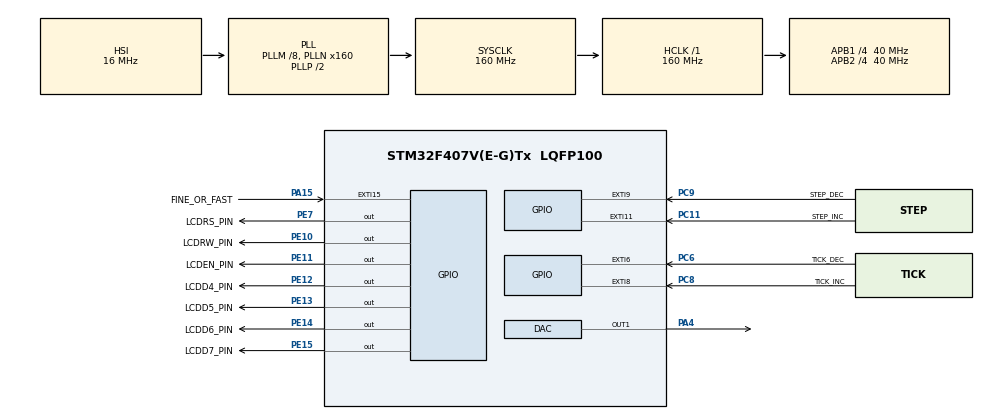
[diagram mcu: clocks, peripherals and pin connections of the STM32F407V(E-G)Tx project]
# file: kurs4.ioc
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DAC.DAC_Trigger=DAC_TRIGGER_NONE
Mcu.Family=STM32F4
Mcu.Name=STM32F407V(E-G)Tx
Mcu.Package=LQFP100
NVIC.EXTI15_10_IRQn=true\:1\:0\:true\:false\:true\:true\:true
NVIC.EXTI9_5_IRQn=true\:1\:0\:true\:false\:true\:true\:true
NVIC.PriorityGroup=NVIC_PRIORITYGROUP_4
NVIC.TIM1_BRK_TIM9_IRQn=true\:2\:0\:true\:false\:true\:true\:true
PA15.GPIO_Label=FINE_OR_FAST
PA15.GPIO_ModeDefaultEXTI=GPIO_MODE_IT_FALLING
PA15.Signal=GPXTI15
PA4.Signal=COMP_DAC1_group
PC11.GPIO_Label=STEP_INC
PC11.GPIO_ModeDefaultEXTI=GPIO_MODE_IT_FALLING
PC11.GPIO_PuPd=GPIO_NOPULL
PC11.Signal=GPXTI11
PC6.GPIO_Label=TICK_DEC
PC6.GPIO_ModeDefaultEXTI=GPIO_MODE_IT_FALLING
PC6.Signal=GPXTI6
PC8.GPIO_Label=TICK_INC
PC8.GPIO_ModeDefaultEXTI=GPIO_MODE_IT_FALLING
PC8.Signal=GPXTI8
PC9.GPIO_Label=STEP_DEC
PC9.GPIO_ModeDefaultEXTI=GPIO_MODE_IT_FALLING
PC9.GPIO_PuPd=GPIO_NOPULL
PC9.Signal=GPXTI9
PE10.GPIO_Label=LCDRW_PIN
PE10.GPIO_Speed=GPIO_SPEED_FREQ_MEDIUM
PE10.PinState=GPIO_PIN_RESET
PE10.Signal=GPIO_Output
PE11.GPIO_Label=LCDEN_PIN
PE11.GPIO_Speed=GPIO_SPEED_FREQ_MEDIUM
PE11.Signal=GPIO_Output
PE12.GPIO_Label=LCDD4_PIN
PE12.GPIO_Speed=GPIO_SPEED_FREQ_MEDIUM
PE12.Signal=GPIO_Output
PE13.GPIO_Label=LCDD5_PIN
PE13.GPIO_Speed=GPIO_SPEED_FREQ_MEDIUM
PE13.Signal=GPIO_Output
PE14.GPIO_Label=LCDD6_PIN
PE14.GPIO_Speed=GPIO_SPEED_FREQ_MEDIUM
PE14.Signal=GPIO_Output
PE15.GPIO_Label=LCDD7_PIN
PE15.GPIO_Speed=GPIO_SPEED_FREQ_MEDIUM
PE15.Signal=GPIO_Output
PE7.GPIO_Label=LCDRS_PIN
PE7.GPIO_Speed=GPIO_SPEED_FREQ_MEDIUM
PE7.Signal=GPIO_Output
ProjectManager.HeapSize=0x200
ProjectManager.StackSize=0x400
ProjectManager.TargetToolchain=STM32CubeIDE
RCC.48MHZClocksFreq_Value=80000000
RCC.AHBFreq_Value=160000000
RCC.APB1CLKDivider=RCC_HCLK_DIV4
RCC.APB1Freq_Value=40000000
RCC.APB1TimFreq_Value=80000000
RCC.APB2CLKDivider=RCC_HCLK_DIV4
RCC.APB2Freq_Value=40000000
RCC.APB2TimFreq_Value=80000000
RCC.CortexFreq_Value=160000000
RCC.HCLKFreq_Value=160000000
RCC.HSE_VALUE=25000000
RCC.HSI_VALUE=16000000
RCC.LSE_VALUE=32768
RCC.PLLM=8
RCC.PLLN=160
RCC.SYSCLKFreq_VALUE=160000000
RCC.SYSCLKSource=RCC_SYSCLKSOURCE_PLLCLK
RCC.VCOOutputFreq_Value=320000000
SH.COMP_DAC1_group.0=DAC_OUT1,DAC_OUT1
TIM9.Period=260
VP_TIM9_VS_ClockSourceINT.Mode=Internal
board=custom

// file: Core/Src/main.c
/* USER CODE BEGIN Header */
/**
 ******************************************************************************
 * @file           : main.c
 * @brief          : Main program body
 ******************************************************************************
 * @attention
 *
 * <h2><center>&copy; Copyright (c) 2021 STMicroelectronics.
 * All rights reserved.</center></h2>
 *
 * This software component is licensed by ST under BSD 3-Clause license,
 * the "License"; You may not use this file except in compliance with the
 * License. You may obtain a copy of the License at:
 *                        opensource.org/licenses/BSD-3-Clause
 *
 ******************************************************************************
 */
/* USER CODE END Header */
#include "main.h"

/* USER CODE BEGIN PM */

//#include "systick.h"
#include "terminal.h"

//#include <stdio.h>

/* USER CODE END PM */

DAC_HandleTypeDef hdac;

TIM_HandleTypeDef htim9;

/* USER CODE BEGIN PV */

/* main constants */
static const uint32_t FREQ_STEP_MAX = 1024;
static const uint32_t FREQ_STEP_MIN = 1;

static const uint32_t TICK_STEP_MAX = 64;
static const uint32_t TICK_STEP_MIN = 0;

static const uint32_t UINT32_DIGITS = 10;
static const uint32_t STR2INT_BASE10 = 10;

#define __NORMALIZE_AMPLITUDE

/*
 * base_freq = (Ftim_clk) / (tim_period * DAC_MAX )
 * TIM_period = (Ftim_clk) / (Fwanted * DAC_MAX)
 * Fwanted ~ base_Freq
 */
static const float base_freq = (80000000.f) / (260.417f * 4096.f);

/* main variables */
static uint32_t fine_step = 1;
static uint32_t tick_step = 0;
static uint32_t main_step = 1;

/* control state machine */
static uint8_t main_step_mode = FREQ_STEP_1;

static float curr_freq = base_freq;

/* general i/o buffer */
static char str[TERM_1L_SIZE] = {' '};

/* system generator and terminal pointers */
static trigen *sysgen = NULL;
static term_win *systerm = NULL;

/* USER CODE END PV */

void SystemClock_Config(void);
static void MX_GPIO_Init(void);
static void MX_DAC_Init(void);
static void MX_TIM9_Init(void);

/* USER CODE BEGIN 0 */

/* misc functions */

/* @brief	clamps a value between min & max
 * @param 	val: value to be clamped
 * @param 	min: low boundary
 * @param 	max: high boundary
 * @retval	ret: clamped value
 */
static uint32_t clamp_ui32(uint32_t val, uint32_t min, uint32_t max)
{
	const uint32_t ret = (val < min) ? min : val;
	return (ret > max) ? max : ret;
}

/* @brief	u32_to_zstr helper function
 * Moves a given string pointer to the first non-zero value, ex
 * 		i	>  01234567
 * 		buf = "00005071\n" -> msd = &buf[4]
 * @param 	buf: a string pointer
 * @retval	msd: a pointer to the supposed most significant digit
 */
static char *__uint32_skip_zeroes(char *buf)
{
	char *msd = &buf[UINT32_DIGITS - 1];

	/* find the msd / skip leading zeroes */
	for (uint32_t i = 0; i < UINT32_DIGITS; i++)
		if (buf[i] != '0') {
			msd = &buf[i];
			break;
		}

	return msd;
}

/* @brief	converts u32 to string
 * Converts a given 32-bit unsigned integer to a string
 * @param 	val: a value to be converted
 * @param 	buf: a pointer to character buffer
 * @retval	buf
 */
static char *uint32_to_str(uint32_t val, char *buf)
{
	/* transform each uint32 digit into char */
	for(uint32_t i = UINT32_DIGITS; i > 0; i--, val /= STR2INT_BASE10)
		buf[i - 1] = "0123456789"[val % STR2INT_BASE10];

	return buf;
}

/* @brief	converts u32 to string
 * Converts a given 32-bit unsigned integer to a string without leading zeroes
 * @param 	val: a value to be converted
 * @param 	buf: a pointer to character buffer
 * @retval	buf
 */
static char *uint32_to_zstr(uint32_t val, char *buf)
{
	/* transform a given value */
	buf = uint32_to_str(val, buf);

	/* find the msd / skip leading zeroes */
	return __uint32_skip_zeroes(buf);
}

/* @brief	prints information to display
 * Prints all sawtooth generator parameters and current approximate frequency
 * @param 	None
 * @retval	None
 */
static void print_info(void)
{
	/* dislay info */
	term_cls(systerm);

	/* generator parameters */
	term_putsxy(systerm, "Mul:", 0, 0);
	term_putsxy(systerm, "Div:", 0, 1);
	term_putsxy(systerm, uint32_to_zstr(fine_step, str), 4, 0);
	term_putsxy(systerm, uint32_to_zstr(tick_step + 1, str), 4, 1);

	/* generator output */
	term_putsxy(systerm, "Freq:", 9, 0);
	term_putsxy(systerm, uint32_to_zstr(curr_freq, str), 9, 1);

	term_putchxy(systerm, main_step_mode, 15, 0);
}

/* @brief	generator step inc/dec mode control state machine
 * 1 = fine_step (+ or -) 	1
 * 2 = fine_step (+ or -) 	10
 * 3 = fine_step (+ or -) 	100
 * > = fine_step (<< or >>) 1
 * @param 	None
 * @retval	main_step_mode: current mode
 */
static enum STEP_CONTROL mode_change(void)
{
	switch(main_step_mode)
	{
	case FREQ_STEP_1:
		main_step = 10;
		main_step_mode = FREQ_STEP_10;
		break;
	case FREQ_STEP_10:
		main_step = 100;
		main_step_mode = FREQ_STEP_100;
		break;
	case FREQ_STEP_100:
		main_step = 2;
		main_step_mode = FREQ_STEP_SH;
		break;

	case FREQ_STEP_SH:
		main_step = 1;
		main_step_mode = FREQ_STEP_1;
		break;

	default:
		main_step_mode = FREQ_STEP_1;
		break;
	};

	return main_step_mode;
}

/* main generator timer callback */
void HAL_TIM_PeriodElapsedCallback(TIM_HandleTypeDef* htim)
{
	if (&htim9 == htim && NULL != sysgen)
	{
#ifdef __NORMALIZE_AMPLITUDE
		HAL_DAC_SetValue(&hdac, DAC_CHANNEL_1, DAC_ALIGN_12B_R, gen_get_norm_amp(sysgen));
#else
		HAL_DAC_SetValue(&hdac, DAC_CHANNEL_1, DAC_ALIGN_12B_R, sysgen->count);
#endif
		gen_tick(sysgen);
	}
}

/* control key interrupt callbacks */
void HAL_GPIO_EXTI_Callback(uint16_t GPIO_Pin)
{
	HAL_TIM_Base_Stop_IT(&htim9);

	switch(GPIO_Pin)
	{
	/* divider ticks */
	case GPIO_PIN_8:
		if (tick_step > TICK_STEP_MIN) 	{ tick_step -= 1; }
		break;
	case GPIO_PIN_6:
		if (tick_step < TICK_STEP_MAX)	{ tick_step += 1; }
		break;

	/* main counter ticks */
	case GPIO_PIN_9:
		/* dec (or shift right) frequency */
		if (fine_step > main_step) {
			if (main_step_mode == FREQ_STEP_SH)
				fine_step = fine_step >> 1;
			else
				fine_step -= main_step;
		}
		break;

	case GPIO_PIN_11:
		/* inc (or shift left) frequency */
		if (fine_step < FREQ_STEP_MAX) {
			if (main_step_mode == FREQ_STEP_SH)
				fine_step = fine_step << 1;
			else
				fine_step += main_step;
		}
		break;

	/* change freq regulation mode*/
	case GPIO_PIN_15:
		mode_change();
		break;

	default:
		break;
	};

	/* reconfigure main generator */
	fine_step = clamp_ui32(fine_step, FREQ_STEP_MIN, FREQ_STEP_MAX);
	tick_step = clamp_ui32(tick_step, TICK_STEP_MIN, TICK_STEP_MAX);

	gen_set_step(sysgen, fine_step);
	gen_set_tick(sysgen, tick_step);

	/* calculate approximate current frequency */
	curr_freq = (float)(base_freq * (float)(fine_step)) / (float)(tick_step + 1);

	print_info();

	HAL_TIM_Base_Start_IT(&htim9);
}

/* USER CODE END 0 */

int main(void)
{
	/* USER CODE BEGIN 1 */
	trigen __gen_main;
	sysgen = &__gen_main;

	term_win __term_main;
	systerm = &__term_main;

	uint32_t start_step = 1;
	uint32_t start_tick = 0;

	fine_step = start_step;
	tick_step = start_tick;

	/* USER CODE END 1 */

	/* MCU Configuration--------------------------------------------------------*/

	/* Reset of all peripherals, Initializes the Flash interface and the Systick. */
	HAL_Init();

	/* Configure the system clock */
	SystemClock_Config();

	/* Initialize all configured peripherals */
	MX_GPIO_Init();
	MX_DAC_Init();
	MX_TIM9_Init();
	/* USER CODE BEGIN 2 */

	/* initialize main generator */
	gen_init(sysgen, GEN_12BIT, start_step, start_tick);

	/* initialize terminal -> initialize lcd screen */
	term_init(systerm);
	HAL_Delay(10);

	print_info();

	HAL_DAC_Start(&hdac, DAC_CHANNEL_1);
	HAL_TIM_Base_Start_IT(&htim9);

	/* USER CODE END 2 */

	/* Infinite loop */
	while (1)
	{

		/* USER CODE BEGIN 3 */
		term_draw(systerm);
	}
	/* USER CODE END 3 */
}

void SystemClock_Config(void)
{
	RCC_OscInitTypeDef RCC_OscInitStruct = {0};
	RCC_ClkInitTypeDef RCC_ClkInitStruct = {0};

	/** Configure the main internal regulator output voltage
	 */
	__HAL_RCC_PWR_CLK_ENABLE();
	__HAL_PWR_VOLTAGESCALING_CONFIG(PWR_REGULATOR_VOLTAGE_SCALE1);
	/** Initializes the RCC Oscillators according to the specified parameters
	 * in the RCC_OscInitTypeDef structure.
	 */
	RCC_OscInitStruct.OscillatorType = RCC_OSCILLATORTYPE_HSI;
	RCC_OscInitStruct.HSIState = RCC_HSI_ON;
	RCC_OscInitStruct.HSICalibrationValue = RCC_HSICALIBRATION_DEFAULT;
	RCC_OscInitStruct.PLL.PLLState = RCC_PLL_ON;
	RCC_OscInitStruct.PLL.PLLSource = RCC_PLLSOURCE_HSI;
	RCC_OscInitStruct.PLL.PLLM = 8;
	RCC_OscInitStruct.PLL.PLLN = 160;
	RCC_OscInitStruct.PLL.PLLP = RCC_PLLP_DIV2;
	RCC_OscInitStruct.PLL.PLLQ = 4;
	if (HAL_RCC_OscConfig(&RCC_OscInitStruct) != HAL_OK)
	{
		Error_Handler();
	}
	/** Initializes the CPU, AHB and APB buses clocks
	 */
	RCC_ClkInitStruct.ClockType = RCC_CLOCKTYPE_HCLK|RCC_CLOCKTYPE_SYSCLK
			|RCC_CLOCKTYPE_PCLK1|RCC_CLOCKTYPE_PCLK2;
	RCC_ClkInitStruct.SYSCLKSource = RCC_SYSCLKSOURCE_PLLCLK;
	RCC_ClkInitStruct.AHBCLKDivider = RCC_SYSCLK_DIV1;
	RCC_ClkInitStruct.APB1CLKDivider = RCC_HCLK_DIV4;
	RCC_ClkInitStruct.APB2CLKDivider = RCC_HCLK_DIV4;

	if (HAL_RCC_ClockConfig(&RCC_ClkInitStruct, FLASH_LATENCY_5) != HAL_OK)
	{
		Error_Handler();
	}
}

static void MX_DAC_Init(void)
{

	DAC_ChannelConfTypeDef sConfig = {0};

	/** DAC Initialization
	 */
	hdac.Instance = DAC;
	if (HAL_DAC_Init(&hdac) != HAL_OK)
	{
		Error_Handler();
	}
	/** DAC channel OUT1 config
	 */
	sConfig.DAC_Trigger = DAC_TRIGGER_NONE;
	sConfig.DAC_OutputBuffer = DAC_OUTPUTBUFFER_ENABLE;
	if (HAL_DAC_ConfigChannel(&hdac, &sConfig, DAC_CHANNEL_1) != HAL_OK)
	{
		Error_Handler();
	}

}

static void MX_TIM9_Init(void)
{

	TIM_ClockConfigTypeDef sClockSourceConfig = {0};

	htim9.Instance = TIM9;
	htim9.Init.Prescaler = 0;
	htim9.Init.CounterMode = TIM_COUNTERMODE_UP;
	htim9.Init.Period = 260;
	htim9.Init.ClockDivision = TIM_CLOCKDIVISION_DIV1;
	htim9.Init.AutoReloadPreload = TIM_AUTORELOAD_PRELOAD_DISABLE;
	if (HAL_TIM_Base_Init(&htim9) != HAL_OK)
	{
		Error_Handler();
	}
	sClockSourceConfig.ClockSource = TIM_CLOCKSOURCE_INTERNAL;
	if (HAL_TIM_ConfigClockSource(&htim9, &sClockSourceConfig) != HAL_OK)
	{
		Error_Handler();
	}

}

static void MX_GPIO_Init(void)
{
	GPIO_InitTypeDef GPIO_InitStruct = {0};

	/* GPIO Ports Clock Enable */
	__HAL_RCC_GPIOA_CLK_ENABLE();
	__HAL_RCC_GPIOE_CLK_ENABLE();
	__HAL_RCC_GPIOC_CLK_ENABLE();

	/*Configure GPIO pin Output Level */
	HAL_GPIO_WritePin(GPIOE, LCDRS_PIN_Pin|LCDRW_PIN_Pin|LCDEN_PIN_Pin|LCDD4_PIN_Pin
			|LCDD5_PIN_Pin|LCDD6_PIN_Pin|LCDD7_PIN_Pin, GPIO_PIN_RESET);

	/*Configure GPIO pins : LCDRS_PIN_Pin LCDRW_PIN_Pin LCDEN_PIN_Pin LCDD4_PIN_Pin
                           LCDD5_PIN_Pin LCDD6_PIN_Pin LCDD7_PIN_Pin */
	GPIO_InitStruct.Pin = LCDRS_PIN_Pin|LCDRW_PIN_Pin|LCDEN_PIN_Pin|LCDD4_PIN_Pin
			|LCDD5_PIN_Pin|LCDD6_PIN_Pin|LCDD7_PIN_Pin;
	GPIO_InitStruct.Mode = GPIO_MODE_OUTPUT_PP;
	GPIO_InitStruct.Pull = GPIO_NOPULL;
	GPIO_InitStruct.Speed = GPIO_SPEED_FREQ_MEDIUM;
	HAL_GPIO_Init(GPIOE, &GPIO_InitStruct);

	/*Configure GPIO pins : TICK_DEC_Pin TICK_INC_Pin STEP_DEC_Pin STEP_INC_Pin */
	GPIO_InitStruct.Pin = TICK_DEC_Pin|TICK_INC_Pin|STEP_DEC_Pin|STEP_INC_Pin;
	GPIO_InitStruct.Mode = GPIO_MODE_IT_FALLING;
	GPIO_InitStruct.Pull = GPIO_NOPULL;
	HAL_GPIO_Init(GPIOC, &GPIO_InitStruct);

	/*Configure GPIO pin : FINE_OR_FAST_Pin */
	GPIO_InitStruct.Pin = FINE_OR_FAST_Pin;
	GPIO_InitStruct.Mode = GPIO_MODE_IT_FALLING;
	GPIO_InitStruct.Pull = GPIO_NOPULL;
	HAL_GPIO_Init(FINE_OR_FAST_GPIO_Port, &GPIO_InitStruct);

	/* EXTI interrupt init*/
	HAL_NVIC_SetPriority(EXTI9_5_IRQn, 1, 0);
	HAL_NVIC_EnableIRQ(EXTI9_5_IRQn);

	HAL_NVIC_SetPriority(EXTI15_10_IRQn, 1, 0);
	HAL_NVIC_EnableIRQ(EXTI15_10_IRQn);

}

void Error_Handler(void)
{
	__disable_irq();
	while (1)
	{
	}
}

/************************ (C) COPYRIGHT STMicroelectronics *****END OF FILE****/
